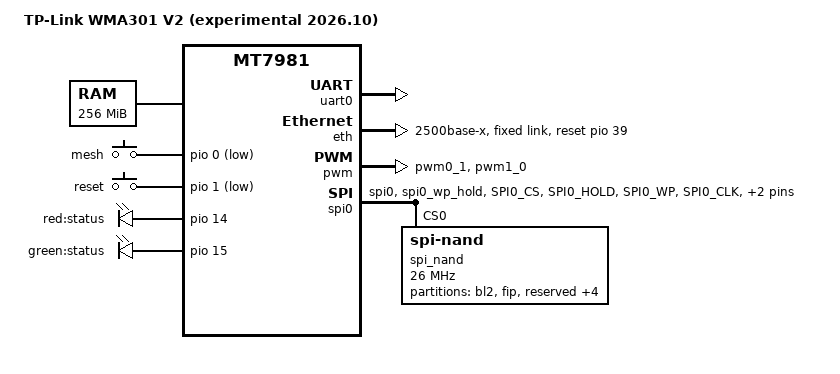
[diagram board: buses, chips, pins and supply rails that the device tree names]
/* Experimental: OEM BL2/BL31 unchanged. Do not flash this port. */
// SPDX-License-Identifier: GPL-2.0
/*
 * Copyright (c) 2026
 * Author: Mikhail Zhilkin <csharper2005@gmail.com>
 */

/dts-v1/;
#include "mt7981.dtsi"
#include <dt-bindings/gpio/gpio.h>
#include <dt-bindings/input/linux-event-codes.h>

/ {
	#address-cells = <1>;
	#size-cells = <1>;
	model = "TP-Link WMA301 V2 (experimental 2026.10)";
	compatible = "tplink,wma301-v2", "mediatek,mt7981";

	chosen {
		stdout-path = &uart0;
		tick-timer = &timer0;
	};

	memory@40000000 {
		device_type = "memory";
		reg = <0x40000000 0x10000000>;
	};

	keys {
		compatible = "gpio-keys";

		button-0 {
			label = "mesh";
			linux,code = <BTN_9>;
			gpios = <&pio 0 GPIO_ACTIVE_LOW>;
		};

		button-1 {
			label = "reset";
			linux,code = <KEY_RESTART>;
			gpios = <&pio 1 GPIO_ACTIVE_LOW>;
		};
	};

	leds {
		compatible = "gpio-leds";

		led-0 {
			label = "red:status";
			gpios = <&pio 14 GPIO_ACTIVE_HIGH>;
		};

		led-1 {
			label = "green:status";
			gpios = <&pio 15 GPIO_ACTIVE_HIGH>;
		};
	};
};

&uart0 {
	mediatek,force-highspeed;
	status = "okay";
};

&uart1 {
	pinctrl-names = "default";
	pinctrl-0 = <&uart1_pins>;
	status = "disabled";
};

&eth {
	status = "okay";
	mediatek,gmac-id = <0>;
	phy-mode = "2500base-x";
	mediatek,switch = "mt7531";
	reset-gpios = <&pio 39 GPIO_ACTIVE_HIGH>;

	fixed-link {
		speed = <2500>;
		full-duplex;
	};
};

&pio {
	spi_flash_pins: spi0-pins-func-1 {
		mux {
			function = "flash";
			groups = "spi0", "spi0_wp_hold";
		};

		conf-pu {
			pins = "SPI0_CS", "SPI0_HOLD", "SPI0_WP";
			drive-strength = <MTK_DRIVE_8mA>;
			bias-pull-up = <MTK_PUPD_SET_R1R0_00>;
		};

		conf-pd {
			pins = "SPI0_CLK", "SPI0_MOSI", "SPI0_MISO";
			drive-strength = <MTK_DRIVE_8mA>;
			bias-pull-down = <MTK_PUPD_SET_R1R0_00>;
		};
	};

	spic_pins: spi1-pins-func-1 {
		mux {
			function = "spi";
			groups = "spi1_1";
		};
	};

	uart1_pins: spi1-pins-func-3 {
		mux {
			function = "uart";
			groups = "uart1_2";
		};
	};

	pwm_pins: pwm0-pins-func-1 {
		mux {
			function = "pwm";
			groups = "pwm0_1", "pwm1_0";
		};
	};
};

&pwm {
	pinctrl-names = "default";
	pinctrl-0 = <&pwm_pins>;
	status = "okay";
};

&spi0 {
	#address-cells = <1>;
	#size-cells = <0>;
	pinctrl-names = "default";
	pinctrl-0 = <&spi_flash_pins>;
	status = "okay";
	must_tx;
	enhance_timing;
	dma_ext;
	ipm_design;
	support_quad;
	tick_dly = <2>;
	sample_sel = <0>;

	spi_nand@0 {
		compatible = "spi-nand";
		reg = <0>;
		/* 26 MHz: 52 MHz left ~1 page per 7000 with bad on-die ECC parity (ESMT) */
		spi-max-frequency = <26000000>;

		partitions {
			compatible = "fixed-partitions";
			#address-cells = <1>;
			#size-cells = <1>;

			/* OEM-accurate WMA301 V2: BL2 128K, FIP begins at 0x20000.
			 * Keep factory calibration / original U-Boot environment safe.
			 * The U-Boot persistent environment is stored in UBI volumes.
			 */
			partition@0 { label = "bl2"; reg = <0x0 0x20000>; read-only; };
			partition@20000 { label = "fip"; reg = <0x20000 0x3a0000>; read-only; };
			partition@3c0000 { label = "reserved"; reg = <0x3c0000 0x40000>; read-only; };
			partition@400000 { label = "factory_info"; reg = <0x400000 0x80000>; read-only; };
			partition@480000 { label = "art"; reg = <0x480000 0x80000>; read-only; };
			partition@500000 { label = "config"; reg = <0x500000 0x200000>; read-only; };
			partition@700000 { label = "ubi"; reg = <0x700000 0x7900000>; };
		};
	};
};

&watchdog {
	status = "disabled";
};
